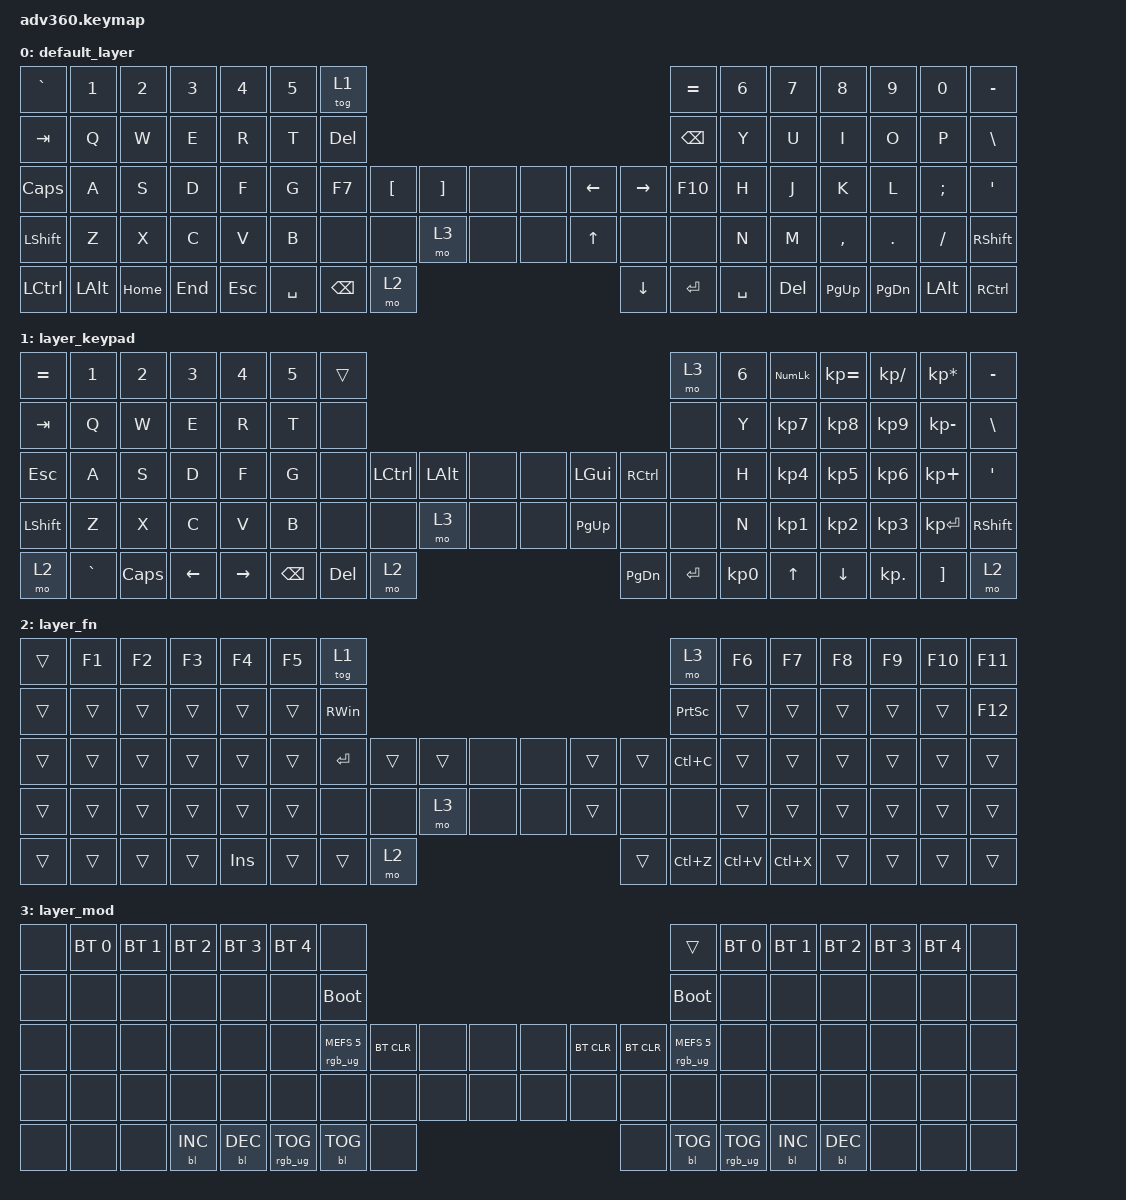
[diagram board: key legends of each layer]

/*
 * Copyright (c) 2020 The ZMK Contributors
 *
 * SPDX-License-Identifier: MIT
 */


/* THIS FILE WAS GENERATED!
 *
 * This file was generated automatically. You may or may not want to
 * edit it directly.
 */

#include <behaviors.dtsi>
#include <dt-bindings/zmk/keys.h>
#include <dt-bindings/zmk/bt.h>
#include <dt-bindings/zmk/rgb.h>
#include <dt-bindings/zmk/backlight.h>

/ {
  behaviors {
    #include "macros.dtsi"

    hm: homerow_mods {
        compatible = "zmk,behavior-hold-tap";
        label = "HOMEROW_MODS";
        #binding-cells = <2>;
        tapping-term-ms = <200>;
        quick_tap_ms = <175>;
        flavor = "tap-preferred";
        bindings = <&kp>, <&kp>;
    };
  };

    keymap {
        compatible = "zmk,keymap";


        default_layer {
            bindings = <
        &kp GRAVE    &kp N1    &kp N2   &kp N3   &kp N4  &kp N5               &tog 1                                                           &kp EQUAL  &kp N6   &kp N7       &kp N8         &kp N9    &kp N0          &kp MINUS
          &kp TAB     &kp Q     &kp W    &kp E    &kp R   &kp T              &kp DEL                                                            &kp BSPC   &kp Y    &kp U        &kp I          &kp O     &kp P           &kp BSLH
         &kp CAPS     &kp A     &kp S    &kp D    &kp F   &kp G               &kp F7  &kp LBKT  &kp RBKT   &none   &none  &kp LEFT  &kp RIGHT    &kp F10   &kp H    &kp J        &kp K          &kp L  &kp SEMI            &kp SQT
        &kp LSHFT     &kp Z     &kp X    &kp C    &kp V   &kp B                &none     &none     &mo 3   &none   &none    &kp UP      &none      &none   &kp N    &kp M    &kp COMMA        &kp DOT  &kp FSLH          &kp RSHFT
 &kp LEFT_CONTROL  &kp LALT  &kp HOME  &kp END  &kp ESC                    &kp SPACE  &kp BSPC     &mo 2                  &kp DOWN  &kp ENTER  &kp SPACE          &kp DEL  &kp PAGE_UP  &kp PAGE_DOWN  &kp LALT  &kp RIGHT_CONTROL
            >;
        };

        layer_keypad {
            bindings = <
 &kp EQUAL     &kp N1    &kp N2    &kp N3     &kp N4  &kp N5              &trans                                                                 &mo 3  &kp N6  &kp KP_NUM  &kp KP_EQUAL  &kp KP_DIVIDE  &kp KP_MULTIPLY  &kp MINUS
   &kp TAB      &kp Q     &kp W     &kp E      &kp R   &kp T               &none                                                                 &none   &kp Y   &kp KP_N7     &kp KP_N8      &kp KP_N9     &kp KP_MINUS   &kp BSLH
   &kp ESC      &kp A     &kp S     &kp D      &kp F   &kp G               &none  &kp LCTRL  &kp LALT   &none   &none   &kp LGUI  &kp RCTRL      &none   &kp H   &kp KP_N4     &kp KP_N5      &kp KP_N6      &kp KP_PLUS    &kp SQT
 &kp LSHFT      &kp Z     &kp X     &kp C      &kp V   &kp B               &none      &none     &mo 3   &none   &none  &kp PG_UP      &none      &none   &kp N   &kp KP_N1     &kp KP_N2      &kp KP_N3     &kp KP_ENTER  &kp RSHFT
     &mo 2  &kp GRAVE  &kp CAPS  &kp LEFT  &kp RIGHT                    &kp BSPC    &kp DEL     &mo 2                  &kp PG_DN  &kp ENTER  &kp KP_N0              &kp UP      &kp DOWN     &kp KP_DOT         &kp RBKT      &mo 2
            >;
        };

        layer_fn {
            bindings = <
 &trans  &kp F1  &kp F2  &kp F3   &kp F4  &kp F5                   &tog 1                                                               &mo 3  &kp F6     &kp F7  &kp F8  &kp F9  &kp F10  &kp F11
 &trans  &trans  &trans  &trans   &trans  &trans            &kp RIGHT_WIN                                                     &kp PRINTSCREEN  &trans     &trans  &trans  &trans   &trans  &kp F12
 &trans  &trans  &trans  &trans   &trans  &trans                &kp ENTER  &trans  &trans   &none   &none  &trans     &trans        &kp LC(C)  &trans     &trans  &trans  &trans   &trans   &trans
 &trans  &trans  &trans  &trans   &trans  &trans                    &none   &none   &mo 3   &none   &none  &trans      &none            &none  &trans     &trans  &trans  &trans   &trans   &trans
 &trans  &trans  &trans  &trans  &kp INS                           &trans  &trans   &mo 2                  &trans  &kp LC(Z)        &kp LC(V)          &kp LC(X)  &trans  &trans   &trans   &trans
            >;
        };

        layer_mod {
            bindings = <
  &none  &bt BT_SEL 0  &bt BT_SEL 1  &bt BT_SEL 2  &bt BT_SEL 3  &bt BT_SEL 4                             &none                                                                              &trans  &bt BT_SEL 0  &bt BT_SEL 1  &bt BT_SEL 2  &bt BT_SEL 3  &bt BT_SEL 4   &none
  &none         &none         &none         &none         &none         &none                       &bootloader                                                                         &bootloader         &none         &none         &none         &none         &none   &none
  &none         &none         &none         &none         &none         &none            &rgb_ug RGB_MEFS_CMD 5  &bt BT_CLR   &none   &none   &none  &bt BT_CLR  &bt BT_CLR  &rgb_ug RGB_MEFS_CMD 5         &none         &none         &none         &none         &none   &none
  &none         &none         &none         &none         &none         &none                             &none       &none   &none   &none   &none       &none       &none                   &none         &none         &none         &none         &none         &none   &none
  &none         &none         &none    &bl BL_INC    &bl BL_DEC                                 &rgb_ug RGB_TOG  &bl BL_TOG   &none                       &none  &bl BL_TOG         &rgb_ug RGB_TOG                  &bl BL_INC    &bl BL_DEC         &none         &none   &none
            >;
        };

    };
};
